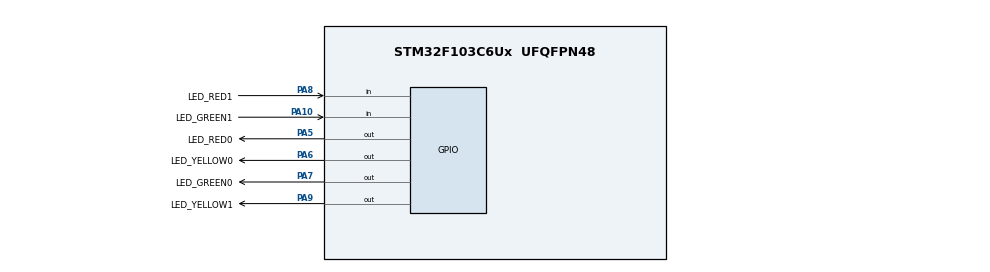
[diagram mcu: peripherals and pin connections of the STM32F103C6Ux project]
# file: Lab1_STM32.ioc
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Mcu.Family=STM32F1
Mcu.Name=STM32F103C6Ux
Mcu.Package=UFQFPN48
NVIC.PriorityGroup=NVIC_PRIORITYGROUP_4
NVIC.TIM2_IRQn=true\:0\:0\:false\:false\:true\:true\:true
PA10.GPIO_Label=LED_GREEN1
PA10.Signal=GPIO_Input
PA5.GPIO_Label=LED_RED0
PA5.Signal=GPIO_Output
PA6.GPIO_Label=LED_YELLOW0
PA6.Signal=GPIO_Output
PA7.GPIO_Label=LED_GREEN0
PA7.Signal=GPIO_Output
PA8.GPIO_Label=LED_RED1
PA8.Signal=GPIO_Input
PA9.GPIO_Label=LED_YELLOW1
PA9.Signal=GPIO_Output
ProjectManager.HeapSize=0x200
ProjectManager.StackSize=0x400
ProjectManager.TargetToolchain=STM32CubeIDE
RCC.APB1Freq_Value=8000000
RCC.APB2Freq_Value=8000000
TIM2.Period=9
TIM2.Prescaler=7999
VP_SYS_VS_ND.Mode=No_Debug
VP_TIM2_VS_ClockSourceINT.Mode=Internal
board=custom

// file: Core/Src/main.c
/* USER CODE BEGIN Header */
/**
  ******************************************************************************
  * @file           : main.c
  * @brief          : Main program body
  ******************************************************************************
  * @attention
  *
  * <h2><center>&copy; Copyright (c) 2024 STMicroelectronics.
  * All rights reserved.</center></h2>
  *
  * This software component is licensed by ST under BSD 3-Clause license,
  * the "License"; You may not use this file except in compliance with the
  * License. You may obtain a copy of the License at:
  *                        opensource.org/licenses/BSD-3-Clause
  *
  ******************************************************************************
  */
/* USER CODE END Header */
#include "main.h"

/* USER CODE BEGIN Includes */
#include "software_timer.h"
/* USER CODE END Includes */

/* USER CODE BEGIN PD */
#define red_duration 500
#define yellow_duration 200
#define green_duration 300
/* USER CODE END PD */

TIM_HandleTypeDef htim2;

void SystemClock_Config(void);
static void MX_GPIO_Init(void);
static void MX_TIM2_Init(void);

/* USER CODE BEGIN 0 */
enum led_state {
	red0,
	yellow0,
	green0
};
/* USER CODE END 0 */

int main(void)
{

  /* MCU Configuration--------------------------------------------------------*/

  /* Reset of all peripherals, Initializes the Flash interface and the Systick. */
  HAL_Init();

  /* Configure the system clock */
  SystemClock_Config();

  /* Initialize all configured peripherals */
  MX_GPIO_Init();
  MX_TIM2_Init();
  /* USER CODE BEGIN 2 */
  HAL_GPIO_WritePin(LED_RED0_GPIO_Port, LED_RED0_Pin, GPIO_PIN_RESET);
  HAL_GPIO_WritePin(LED_YELLOW0_GPIO_Port, LED_YELLOW0_Pin, GPIO_PIN_SET);
  HAL_GPIO_WritePin(LED_GREEN0_GPIO_Port, LED_GREEN0_Pin, GPIO_PIN_SET);
  HAL_TIM_Base_Start_IT (& htim2);
  enum led_state current_state = red0;
  enum led_state next_state = current_state;
  setTimer0(red_duration);
  /* USER CODE END 2 */

  /* Infinite loop */
  /* USER CODE BEGIN WHILE */
  while (1){
	  if (timer0_flag == 1) {
		  switch (current_state) {
		  case red0:
			  HAL_GPIO_WritePin(LED_RED0_GPIO_Port, LED_RED0_Pin, GPIO_PIN_SET);
			  HAL_GPIO_WritePin(LED_YELLOW0_GPIO_Port, LED_YELLOW0_Pin, GPIO_PIN_RESET);
			  next_state = yellow0;
			  setTimer0(yellow_duration);
			  break;
		  case yellow0:
			  HAL_GPIO_WritePin(LED_YELLOW0_GPIO_Port, LED_YELLOW0_Pin, GPIO_PIN_SET);
			  HAL_GPIO_WritePin(LED_GREEN0_GPIO_Port, LED_GREEN0_Pin, GPIO_PIN_RESET);
			  next_state = green0;
			  setTimer0(green_duration);
			  break;
		  case green0:
			  HAL_GPIO_WritePin(LED_GREEN0_GPIO_Port, LED_GREEN0_Pin, GPIO_PIN_SET);
			  HAL_GPIO_WritePin(LED_RED0_GPIO_Port, LED_RED0_Pin, GPIO_PIN_RESET);
			  next_state = red0;
			  setTimer0(red_duration);
			  break;
		  default:
			  break;
		  }
	  }
	  current_state = next_state;
    /* USER CODE END WHILE */

  }
}

void SystemClock_Config(void)
{
  RCC_OscInitTypeDef RCC_OscInitStruct = {0};
  RCC_ClkInitTypeDef RCC_ClkInitStruct = {0};

  /** Initializes the RCC Oscillators according to the specified parameters
  * in the RCC_OscInitTypeDef structure.
  */
  RCC_OscInitStruct.OscillatorType = RCC_OSCILLATORTYPE_HSI;
  RCC_OscInitStruct.HSIState = RCC_HSI_ON;
  RCC_OscInitStruct.HSICalibrationValue = RCC_HSICALIBRATION_DEFAULT;
  RCC_OscInitStruct.PLL.PLLState = RCC_PLL_NONE;
  if (HAL_RCC_OscConfig(&RCC_OscInitStruct) != HAL_OK)
  {
    Error_Handler();
  }
  /** Initializes the CPU, AHB and APB buses clocks
  */
  RCC_ClkInitStruct.ClockType = RCC_CLOCKTYPE_HCLK|RCC_CLOCKTYPE_SYSCLK
                              |RCC_CLOCKTYPE_PCLK1|RCC_CLOCKTYPE_PCLK2;
  RCC_ClkInitStruct.SYSCLKSource = RCC_SYSCLKSOURCE_HSI;
  RCC_ClkInitStruct.AHBCLKDivider = RCC_SYSCLK_DIV1;
  RCC_ClkInitStruct.APB1CLKDivider = RCC_HCLK_DIV1;
  RCC_ClkInitStruct.APB2CLKDivider = RCC_HCLK_DIV1;

  if (HAL_RCC_ClockConfig(&RCC_ClkInitStruct, FLASH_LATENCY_0) != HAL_OK)
  {
    Error_Handler();
  }
}

static void MX_TIM2_Init(void)
{

  TIM_ClockConfigTypeDef sClockSourceConfig = {0};
  TIM_MasterConfigTypeDef sMasterConfig = {0};

  htim2.Instance = TIM2;
  htim2.Init.Prescaler = 7999;
  htim2.Init.CounterMode = TIM_COUNTERMODE_UP;
  htim2.Init.Period = 9;
  htim2.Init.ClockDivision = TIM_CLOCKDIVISION_DIV1;
  htim2.Init.AutoReloadPreload = TIM_AUTORELOAD_PRELOAD_DISABLE;
  if (HAL_TIM_Base_Init(&htim2) != HAL_OK)
  {
    Error_Handler();
  }
  sClockSourceConfig.ClockSource = TIM_CLOCKSOURCE_INTERNAL;
  if (HAL_TIM_ConfigClockSource(&htim2, &sClockSourceConfig) != HAL_OK)
  {
    Error_Handler();
  }
  sMasterConfig.MasterOutputTrigger = TIM_TRGO_RESET;
  sMasterConfig.MasterSlaveMode = TIM_MASTERSLAVEMODE_DISABLE;
  if (HAL_TIMEx_MasterConfigSynchronization(&htim2, &sMasterConfig) != HAL_OK)
  {
    Error_Handler();
  }

}

static void MX_GPIO_Init(void)
{
  GPIO_InitTypeDef GPIO_InitStruct = {0};

  /* GPIO Ports Clock Enable */
  __HAL_RCC_GPIOA_CLK_ENABLE();

  /*Configure GPIO pin Output Level */
  HAL_GPIO_WritePin(GPIOA, LED_RED0_Pin|LED_YELLOW0_Pin|LED_GREEN0_Pin, GPIO_PIN_RESET);

  /*Configure GPIO pins : LED_RED0_Pin LED_YELLOW0_Pin LED_GREEN0_Pin */
  GPIO_InitStruct.Pin = LED_RED0_Pin|LED_YELLOW0_Pin|LED_GREEN0_Pin;
  GPIO_InitStruct.Mode = GPIO_MODE_OUTPUT_PP;
  GPIO_InitStruct.Pull = GPIO_NOPULL;
  GPIO_InitStruct.Speed = GPIO_SPEED_FREQ_LOW;
  HAL_GPIO_Init(GPIOA, &GPIO_InitStruct);

}

/* USER CODE BEGIN 4 */
void HAL_TIM_PeriodElapsedCallback (TIM_HandleTypeDef * htim) {
	runTimer();
}
/* USER CODE END 4 */

void Error_Handler(void)
{
  __disable_irq();
  while (1)
  {
  }
}

/************************ (C) COPYRIGHT STMicroelectronics *****END OF FILE****/
